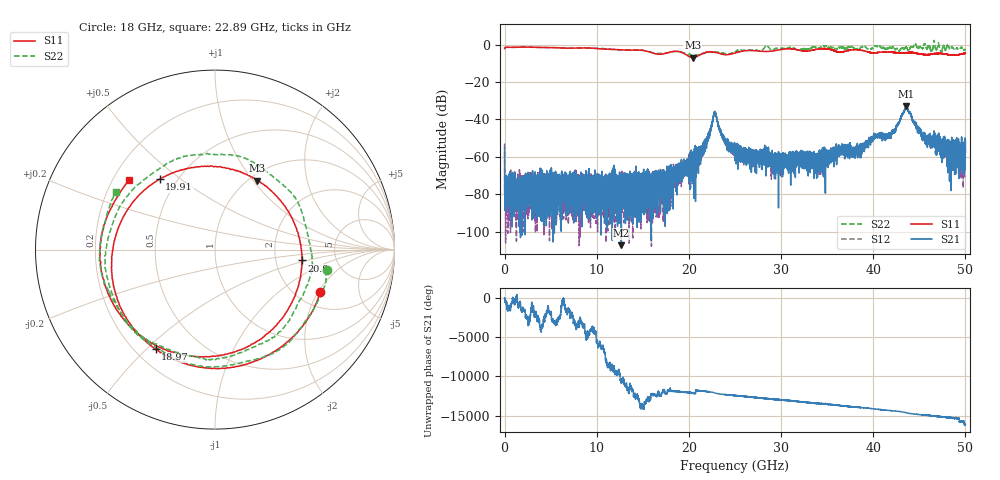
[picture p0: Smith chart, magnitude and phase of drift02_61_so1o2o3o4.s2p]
!Created with skrf (http://scikit-rf.org).
# Hz S RI R 50.0
!freq ReS11 ImS11 ReS21 ImS21 ReS12 ImS12 ReS22 ImS22
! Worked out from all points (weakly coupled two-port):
!   10001 points, 300 kHz to 50 GHz, reference 50 ohm
!   highest |S21| = -32.74 dB at 43.56 GHz (marker M1); lowest = -107.3 dB at 12.67 GHz (marker M2)
!   lowest |S11| = -6.9 dB at 20.41 GHz (marker M3), VSWR 2.64, Z = 54.6 + j52.5 ohm
!   |S11| at or under -10 dB: nowhere
!   |S22| runs from -5.7 to 2.2 dB; largest |S21 - S12| = 0.0032
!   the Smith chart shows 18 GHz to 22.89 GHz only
!   S11 on the Smith chart (normalised r, x): 18 GHz: 2.64, -2.09; 18.97 GHz: 0.28, -0.53; 19.91 GHz: 0.40, +0.42; 20.9 GHz: 2.83, -0.45; 22.89 GHz: 0.27, +0.33
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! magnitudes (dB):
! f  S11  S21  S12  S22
! 300 kHz  -2.1  -55.0  -52.8  -2.0
! 290.3 MHz  -1.4  -72.0  -74.2  -1.4
! 8.335 GHz  -1.7  -79.5  -69.5  -1.9
! 12.67 GHz  -2.8  -107.3  -74.1  -3.0
! 16.67 GHz  -5.2  -71.8  -81.4  -4.7
! 18 GHz  -4.0  -67.5  -73.7  -3.9
! 18.97 GHz  -3.8  -64.7  -67.7  -3.9
! 19.91 GHz  -6.0  -63.2  -63.7  -5.2
! 20.41 GHz  -6.9  -57.4  -58.9  -5.4
! 20.9 GHz  -6.2  -57.8  -58.3  -5.6
! 21.97 GHz  -4.0  -49.2  -50.6  -4.3
! 22.89 GHz  -4.2  -36.6  -36.7  -3.9
! 23.79 GHz  -5.3  -48.9  -50.9  -4.6
! 25 GHz  -4.5  -57.0  -55.3  -3.9
! 29.92 GHz  -2.7  -63.1  -63.3  -2.0
! 33.34 GHz  -3.0  -66.3  -61.1  -1.6
! 37.95 GHz  -2.8  -57.1  -57.1  -2.0
! 40.31 GHz  -4.3  -48.4  -48.7  -0.9
! 41.67 GHz  -4.0  -48.0  -47.9  -1.9
! 43.56 GHz  -4.4  -32.7  -33.3  -1.2
! 45.82 GHz  -5.4  -51.5  -51.8  -2.4
! 50 GHz  -4.7  -57.6  -54.9  -2.6
